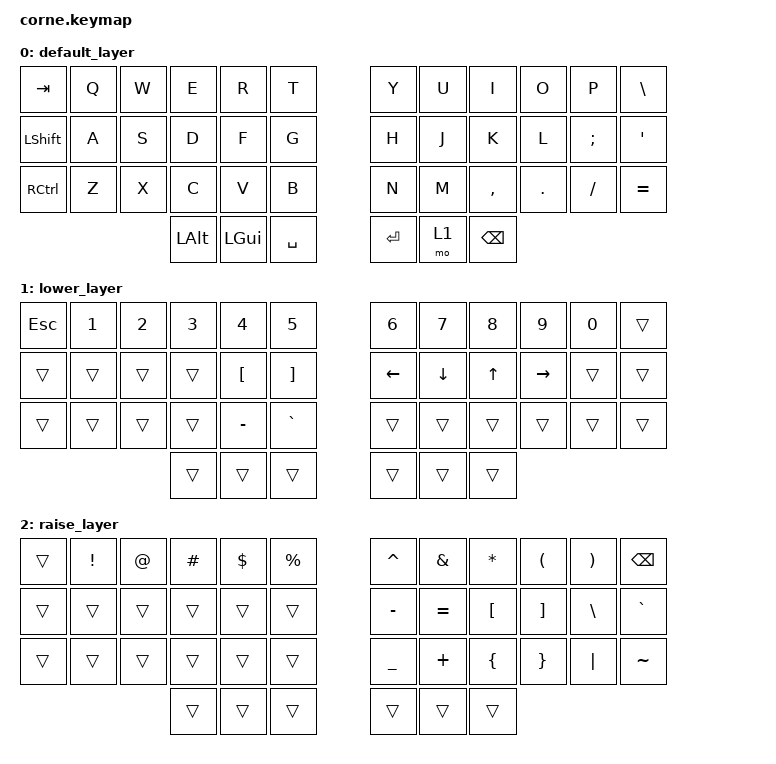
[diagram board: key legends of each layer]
/*
 * Copyright (c) 2020 The ZMK Contributors
 *
 * SPDX-License-Identifier: MIT
 */

#include <behaviors.dtsi>
#include <dt-bindings/zmk/keys.h>

/ {
    keymap {
        compatible = "zmk,keymap";

        default_layer {
            // -----------------------------------------------------------------------------------------
            // |  TAB |  Q  |  W  |  E  |  R  |  T  |   |  Y  |  U   |  I  |  O  |  P  | BKSP |
            // | CTRL |  A  |  S  |  D  |  F  |  G  |   |  H  |  J   |  K  |  L  |  ;  |  '   |
            // | SHFT |  Z  |  X  |  C  |  V  |  B  |   |  N  |  M   |  ,  |  .  |  /  | ESC  |
            //                    | GUI | LWR | SPC |   | ENT | RSE  | ALT |

            bindings = <
&kp TAB         &kp Q  &kp W  &kp E         &kp R     &kp T        &kp Y    &kp U  &kp I          &kp O    &kp P     &kp BSLH
&kp LEFT_SHIFT  &kp A  &kp S  &kp D         &kp F     &kp G        &kp H    &kp J  &kp K          &kp L    &kp SEMI  &kp SQT
&kp RCTRL       &kp Z  &kp X  &kp C         &kp V     &kp B        &kp N    &kp M  &kp COMMA      &kp DOT  &kp FSLH  &kp EQUAL
                              &kp LEFT_ALT  &kp LGUI  &kp SPACE    &kp RET  &mo 1  &kp BACKSPACE
            >;
        };

        lower_layer {
            // -----------------------------------------------------------------------------------------
            // |  TAB |  1  |  2  |  3  |  4  |  5  |   |  6  |  7  |  8  |  9  |  0  | BKSP |
            // | BTCLR| BT1 | BT2 | BT3 | BT4 | BT5 |   | LFT | DWN |  UP | RGT |     |      |
            // | SHFT |     |     |     |     |     |   |     |     |     |     |     |      |
            //                    | GUI |     | SPC |   | ENT |     | ALT |

            bindings = <
&kp ESC  &kp N1  &kp N2  &kp N3  &kp N4            &kp N5               &kp N6    &kp N7    &kp N8  &kp N9     &kp N0  &trans
&trans   &trans  &trans  &trans  &kp LEFT_BRACKET  &kp RIGHT_BRACKET    &kp LEFT  &kp DOWN  &kp UP  &kp RIGHT  &trans  &trans
&trans   &trans  &trans  &trans  &kp MINUS         &kp GRAVE            &trans    &trans    &trans  &trans     &trans  &trans
                         &trans  &trans            &trans               &trans    &trans    &trans
            >;
        };

        raise_layer {
            // -----------------------------------------------------------------------------------------
            // |  TAB |  !  |  @  |  #  |  $  |  %  |   |  ^  |  &  |  *  |  (  |  )  | BKSP |
            // | CTRL |     |     |     |     |     |   |  -  |  =  |  [  |  ]  |  \  |  `   |
            // | SHFT |     |     |     |     |     |   |  _  |  +  |  {  |  }  | "|" |  ~   |
            //                    | GUI |     | SPC |   | ENT |     | ALT |

            bindings = <
&trans  &kp EXCL  &kp AT  &kp HASH  &kp DLLR  &kp PRCNT    &kp CARET  &kp AMPS   &kp ASTRK  &kp LPAR  &kp RPAR  &kp BSPC
&trans  &trans    &trans  &trans    &trans    &trans       &kp MINUS  &kp EQUAL  &kp LBKT   &kp RBKT  &kp BSLH  &kp GRAVE
&trans  &trans    &trans  &trans    &trans    &trans       &kp UNDER  &kp PLUS   &kp LBRC   &kp RBRC  &kp PIPE  &kp TILDE
                          &trans    &trans    &trans       &trans     &trans     &trans
            >;
        };
    };
};
